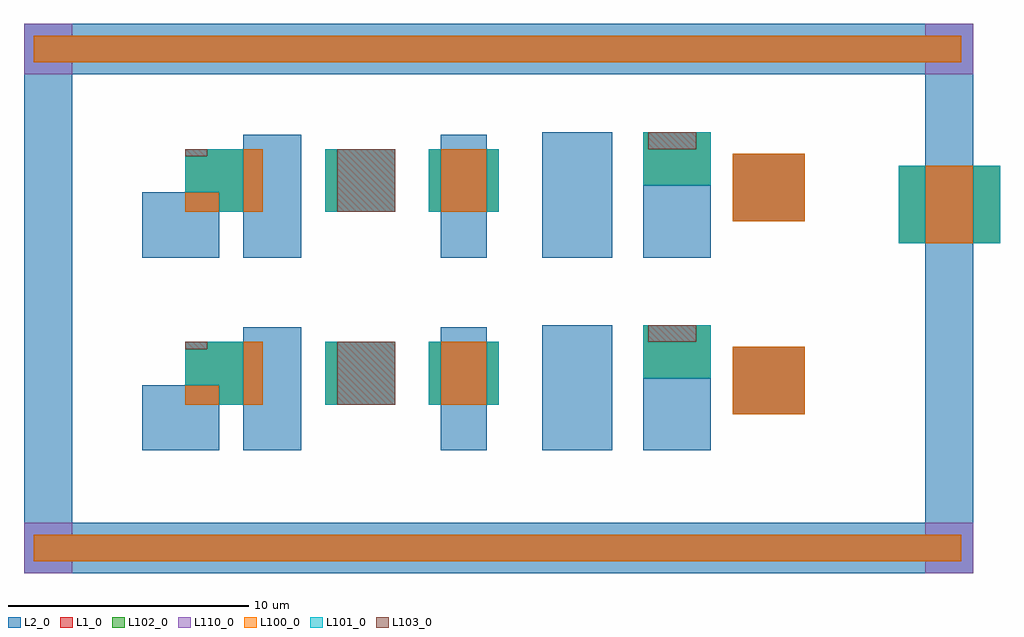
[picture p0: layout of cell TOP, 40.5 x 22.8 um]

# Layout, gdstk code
import gdstk
lib = gdstk.Library(unit=1e-6, precision=1e-09)
def R(c, l, rs):  # rectangles x0, y0, x1, y1
    for r in rs: c.add(gdstk.rectangle(r[:2], r[2:], *l))
def P(c, l, *ps):  # polygons
    for p in ps: c.add(gdstk.Polygon(p, *l))
L1_0 = (1, 0)
L2_0 = (2, 0)
L100_0 = (100, 0)
L101_0 = (101, 0)
L102_0 = (102, 0)
L103_0 = (103, 0)
L110_0 = (110, 0)

child1 = lib.new_cell('CHILD1')
R(child1, L1_0, [(22.7,0,25.7,2.8), (0,0.4,3.2,3), (5.8,0.4,8.7,3), (10.1,0.4,13,3), (19,1.5,21.8,3.7)])
R(child1, L100_0, [(22.7,0,25.7,2.8), (0,0.4,1.4,1.2), (2.4,0.4,3.2,3), (10.6,0.4,12.5,3)])
R(child1, L101_0, [(5.8,0.4,8.7,3), (10.1,0.4,10.6,3), (12.5,0.4,13,3), (19,1.5,21.8,3.7)])
P(child1, L101_0, [(1.4,0.4),(1.4,1.2),(0,1.2),(0,3),(2.4,3),(2.4,0.4)])
R(child1, L102_0, [(22.7,0,25.7,2.8), (5.8,0.4,6.3,3), (10.1,0.4,13,3)])
P(child1, L102_0, [(19,1.5),(19,3.7),(19.2,3.7),(19.2,3),(21.2,3),(21.2,3.7),(21.8,3.7),(21.8,1.5)],
  [(0,0.4),(0,2.7),(0.9,2.7),(0.9,3),(3.2,3),(3.2,0.4)])
R(child1, L103_0, [(6.3,0.4,8.7,3), (0,2.7,0.9,3), (19.2,3,21.2,3.7)])
R(child1, L110_0, [(22.7,0,25.7,2.8), (0,0.4,1.4,1.2), (2.4,0.4,3.2,3), (10.6,0.4,12.5,3)])

ring = lib.new_cell('RING')
R(ring, L1_0, [(0.4,0.5,38.9,1.6), (0.4,21.2,38.9,22.3)])
R(ring, L2_0, [(0,0,2,22.8), (0,0,39.4,2.1), (37.4,0,39.4,22.8), (0,20.7,39.4,22.8)])
R(ring, L100_0, [(0.4,0.5,38.9,1.6), (0.4,21.2,38.9,22.3)])
R(ring, L102_0, [(0.4,0.5,38.9,1.6), (0.4,21.2,38.9,22.3)])
R(ring, L110_0, [(37.4,13.7,39.4,16.9)])
P(ring, L110_0, [(0,0),(0,2.1),(2,2.1),(2,1.6),(37.4,1.6),(37.4,2.1),(39.4,2.1),(39.4,0),(37.4,0),(37.4,0.5),(2,0.5),(2,0)],
  [(0,20.7),(0,22.8),(2,22.8),(2,22.3),(37.4,22.3),(37.4,22.8),(39.4,22.8),(39.4,20.7),(37.4,20.7),(37.4,21.2),(2,21.2),(2,20.7)])

top = lib.new_cell('TOP')
R(top, L1_0, [(31.4,8.6,35.6,11.8)])
R(top, L2_0, [(0,0,3.2,2.7), (4.2,0,6.6,5.1), (12.4,0,14.3,5.1), (16.6,0,19.5,5.2), (20.8,0,23.6,3), (24.5,1.5,27.5,4.3), (0,8,3.2,10.7), (4.2,8,6.6,13.1), (12.4,8,14.3,13.1), (16.6,8,19.5,13.2), (20.8,8,23.6,11), (24.5,9.5,27.5,12.3)])
R(top, L100_0, [(32.5,8.6,34.5,11.8)])
R(top, L101_0, [(31.4,8.6,32.5,11.8), (34.5,8.6,35.6,11.8)])
R(top, L102_0, [(31.4,8.6,35.6,11.8)])
top.add(gdstk.Reference(child1, (1.8,1.5)))
top.add(gdstk.Reference(child1, (1.8,9.5)))
top.add(gdstk.Reference(ring, (-4.9,-5.1)))

lib.write_gds('TOP.gds')
